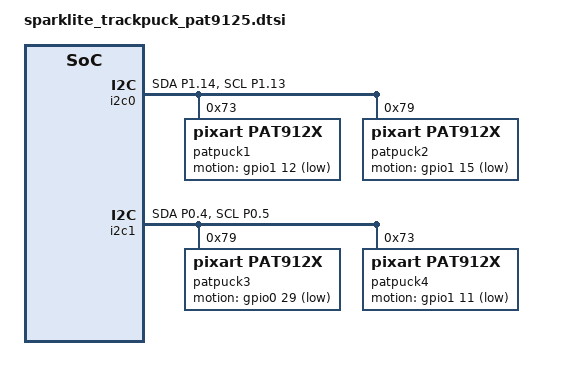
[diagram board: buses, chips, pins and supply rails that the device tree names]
/*
 * Copyright (c) 2020 Pete Johanson
 *
 * SPDX-License-Identifier: MIT
 */

&pinctrl {

    i2c0_default: i2c0_default {
        group1 {
            psels = <NRF_PSEL(TWIM_SDA, 1, 14)>,
                    <NRF_PSEL(TWIM_SCL, 1, 13)>;
        };
    };

    i2c0_sleep: i2c0_sleep {
        group1 {
            psels = <NRF_PSEL(TWIM_SDA, 1, 14)>,
                    <NRF_PSEL(TWIM_SCL, 1, 13)>;
            low-power-enable;
        };
    };

    i2c1_default: i2c1_default {
        group1 {
            psels = <NRF_PSEL(TWIM_SDA, 0, 4)>,
                    <NRF_PSEL(TWIM_SCL, 0, 5)>;
        };
    };

    i2c1_sleep: i2c1_sleep {
        group1 {
            psels = <NRF_PSEL(TWIM_SDA, 0, 4)>,
                    <NRF_PSEL(TWIM_SCL, 0, 5)>;
            low-power-enable;
        };
    };

};

#include <zephyr/dt-bindings/input/input-event-codes.h>

&i2c0 {
    status = "okay";
    compatible = "nordic,nrf-twim";
    pinctrl-0 = <&i2c0_default>;
    pinctrl-1 = <&i2c0_sleep>;
    pinctrl-names = "default", "sleep";

    patpuck1: patpuck1@73 {
        compatible = "pixart,pat912x";
        reg = <0x73>;
        status = "okay";
        motion-gpios = <&gpio1 12 (GPIO_ACTIVE_LOW | GPIO_PULL_UP)>;
        // res-x-cpi = <550>;
        // res-y-cpi = <550>;
        res-x-cpi = <550>;
        res-y-cpi = <550>;
        zephyr,axis-x = <INPUT_REL_X>;
        zephyr,axis-y = <INPUT_REL_Y>;
        // sleep1-enable;
        // sleep2-enable;
    };

    patpuck2: patpuck2@79 {
        compatible = "pixart,pat912x";
        reg = <0x79>;
        status = "okay";
        motion-gpios = <&gpio1 15 (GPIO_ACTIVE_LOW | GPIO_PULL_UP)>;
        // res-x-cpi = <550>;
        // res-y-cpi = <550>;
        res-x-cpi = <550>;
        res-y-cpi = <550>;
        zephyr,axis-x = <INPUT_REL_X>;
        zephyr,axis-y = <INPUT_REL_Y>;
        // sleep1-enable;
        // sleep2-enable;
    };
};

&i2c1 {
    status = "okay";
    compatible = "nordic,nrf-twim";
    pinctrl-0 = <&i2c1_default>;
    pinctrl-1 = <&i2c1_sleep>;
    pinctrl-names = "default", "sleep";

    patpuck3: patpuck3@79 {
        compatible = "pixart,pat912x";
        reg = <0x79>;
        status = "okay";
        motion-gpios = <&gpio0 29 (GPIO_ACTIVE_LOW | GPIO_PULL_UP)>;
        // res-x-cpi = <550>;
        // res-y-cpi = <550>;
        res-x-cpi = <550>;
        res-y-cpi = <550>;
        zephyr,axis-x = <INPUT_REL_X>;
        zephyr,axis-y = <INPUT_REL_Y>;
        // sleep1-enable;
        // sleep2-enable;
    };

    patpuck4: patpuck4@73 {
        compatible = "pixart,pat912x";
        reg = <0x73>;
        status = "okay";
        motion-gpios = <&gpio1 11 (GPIO_ACTIVE_LOW | GPIO_PULL_UP)>;
        // res-x-cpi = <550>;
        // res-y-cpi = <550>;
        res-x-cpi = <550>;
        res-y-cpi = <550>;
        zephyr,axis-x = <INPUT_REL_X>;
        zephyr,axis-y = <INPUT_REL_Y>;
        // sleep1-enable;
        // sleep2-enable;
    };
};
